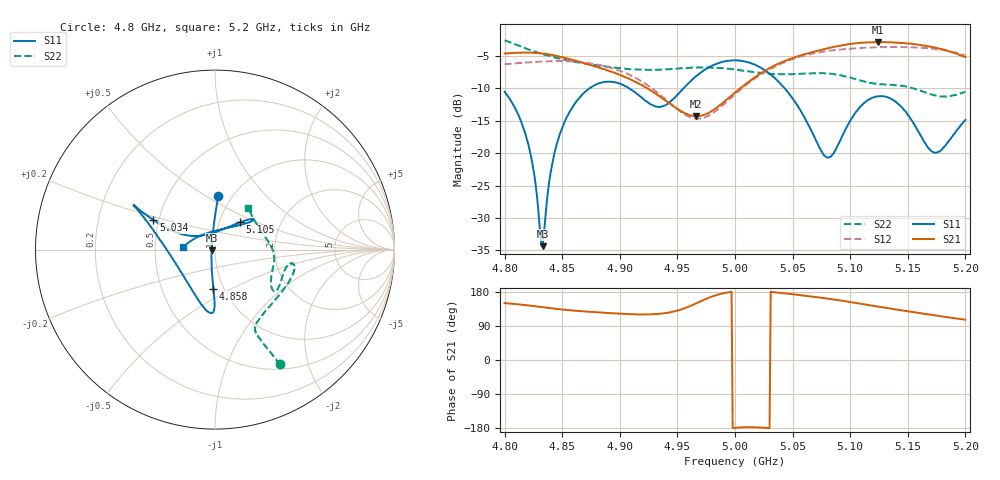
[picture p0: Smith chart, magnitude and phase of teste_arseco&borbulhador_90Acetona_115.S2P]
! Network Analyzer HP8722D
! Hewlett-Packard
! Data name: Linha & Wilkinson
! Saver's name: Rodrigo Anjos
! Comments: Teste da utilização de aquisição
! continua pelo VNA HP8722D
! Time and date: 17/4/2025 12:00
!  Frequency  S11  S21  S12  S22
# HZ  S  MA R 50
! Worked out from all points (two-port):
!   401 points, 4.8 GHz to 5.2 GHz, reference 50 ohm
!   highest |S21| = -2.90 dB at 5.124 GHz (marker M1); lowest = -14.3 dB at 4.966 GHz (marker M2)
!   |S21| within 3 dB of the highest: start of sweep to 4.864 GHz; 5.042 GHz to end of sweep
!   lowest |S11| = -34.3 dB at 4.833 GHz (marker M3), VSWR 1.04, Z = 48.1 - j0.332 ohm
!   |S11| at or under -10 dB: start of sweep to 4.874 GHz; 4.908 GHz to 4.955 GHz (47.66 MHz wide, 0.966 % of centre); 5.043 GHz to end of sweep
!   |S22| runs from -11.3 to -2.7 dB; largest |S21 - S12| = 1.3
!   S11 on the Smith chart (normalised r, x): 4.8 GHz: 0.87, +0.56; 4.858 GHz: 0.89, -0.41; 5.034 GHz: 0.47, +0.18; 5.105 GHz: 1.26, +0.40; 5.2 GHz: 0.70, +0.02
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4.8e9  0.2965 86.7  0.5844 150.2  0.4828 -111.6  0.7361 -60.3
4.811e9  0.2051 89.2  0.5923 147.1  0.4924 -111.4  0.6769 -61.2
4.82e9  0.1218 93.9  0.5934 144.3  0.4991 -110.8  0.6315 -61.9
4.825e9  0.07464 100.4  0.5905 142.4  0.503 -110.5  0.6086 -62.3
4.831e9  0.02364 138.5  0.5868 140.1  0.5055 -109.9  0.5848 -62.8
4.833e9  0.01918 -169.7  0.583 139.4  0.5064 -110.0  0.5772 -62.9
4.839e9  0.06252 -108.1  0.5726 137.2  0.5087 -109.4  0.5579 -63.2
4.843e9  0.09786 -101.0  0.5648 135.5  0.5101 -109.2  0.546 -63.4
4.858e9  0.2189 -92.3  0.5243 131.1  0.5058 -109.2  0.5101 -63.8
4.867e9  0.2794 -90.6  0.4969 128.6  0.5007 -109.4  0.4939 -63.2
4.898e9  0.3467 -96.9  0.4061 122.9  0.4349 -112.8  0.4535 -55.2
4.934e9  0.2271 -148.1  0.2749 121.7  0.2868 -116.0  0.4379 -34.7
4.966e9  0.3893 159.5  0.192 149.3  0.1839 -87.4  0.4551 -17.8
5e9  0.5177 151.3  0.2917 -179.1  0.2834 -49.5  0.4388 -10.2
5.034e9  0.3819 154.2  0.4698 178.9  0.4604 -44.0  0.4061 -15.8
5.067e9  0.1445 148.3  0.5989 167.2  0.5833 -47.4  0.4113 -30.0
5.082e9  0.09275 100.5  0.6463 161.3  0.6144 -50.2  0.4087 -34.4
5.105e9  0.2075 47.3  0.7005 150.4  0.6405 -55.2  0.3693 -32.1
5.124e9  0.2734 38.4  0.7163 141.2  0.6532 -61.0  0.3398 -19.8
5.134e9  0.2653 37.5  0.7115 136.2  0.6544 -64.4  0.3357 -12.3
5.173e9  0.1008 102.3  0.6505 118.0  0.6329 -78.0  0.2788 20.5
5.2e9  0.1798 175.9  0.5479 106.4  0.5634 -87.0  0.2959 50.9
